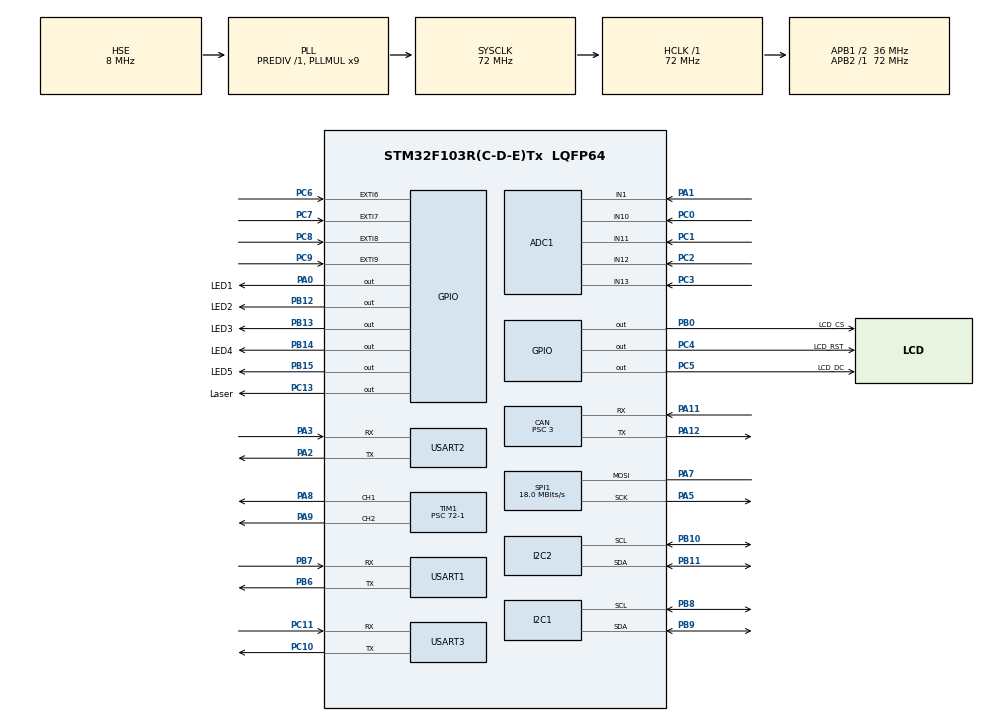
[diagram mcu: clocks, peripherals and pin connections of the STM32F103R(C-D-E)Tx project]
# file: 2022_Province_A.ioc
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ADC1.Channel-0\#ChannelRegularConversion=ADC_CHANNEL_10
ADC1.NbrOfConversionFlag=1
ADC1.Rank-0\#ChannelRegularConversion=1
ADC1.SamplingTime-0\#ChannelRegularConversion=ADC_SAMPLETIME_1CYCLE_5
ADC1.master=1
CAN.BS1=CAN_BS1_8TQ
CAN.BS2=CAN_BS2_3TQ
CAN.CalculateBaudRate=1000000
CAN.CalculateTimeBit=999.99
CAN.CalculateTimeQuantum=83.33333333333334
CAN.Prescaler=3
Dma.I2C2_TX.0.Direction=DMA_MEMORY_TO_PERIPH
Dma.I2C2_TX.0.Instance=DMA1_Channel4
Dma.I2C2_TX.0.MemDataAlignment=DMA_MDATAALIGN_BYTE
Dma.I2C2_TX.0.MemInc=DMA_MINC_ENABLE
Dma.I2C2_TX.0.Mode=DMA_NORMAL
Dma.I2C2_TX.0.PeriphDataAlignment=DMA_PDATAALIGN_BYTE
Dma.I2C2_TX.0.PeriphInc=DMA_PINC_DISABLE
Dma.I2C2_TX.0.Priority=DMA_PRIORITY_LOW
Dma.Request0=I2C2_TX
FREERTOS.INCLUDE_vTaskDelayUntil=1
FREERTOS.INCLUDE_xTaskGetHandle=0
FREERTOS.Tasks01=defaultTask,-3,128,StartDefaultTask,Default,NULL,Dynamic,NULL,NULL
FREERTOS.configMINIMAL_STACK_SIZE=64
FREERTOS.configTOTAL_HEAP_SIZE=10000
I2C1.I2C_Mode=I2C_Fast
I2C2.I2C_Mode=I2C_Fast
Mcu.Family=STM32F1
Mcu.Name=STM32F103R(C-D-E)Tx
Mcu.Package=LQFP64
NVIC.DMA1_Channel4_IRQn=true\:5\:0\:false\:false\:true\:true\:false\:true
NVIC.EXTI9_5_IRQn=true\:5\:0\:false\:false\:true\:true\:true\:true
NVIC.I2C2_EV_IRQn=true\:5\:0\:false\:false\:true\:true\:true\:true
NVIC.PriorityGroup=NVIC_PRIORITYGROUP_4
NVIC.TIM2_IRQn=true\:6\:0\:true\:false\:true\:true\:true\:true
NVIC.TIM7_IRQn=true\:0\:0\:false\:false\:true\:false\:false\:true
NVIC.TimeBase=TIM7_IRQn
NVIC.TimeBaseIP=TIM7
NVIC.USART1_IRQn=true\:5\:0\:false\:false\:true\:true\:true\:true
NVIC.USB_LP_CAN1_RX0_IRQn=true\:6\:0\:true\:false\:true\:true\:true\:true
PA0-WKUP.GPIO_Label=LED1
PA0-WKUP.Signal=GPIO_Output
PA1.Signal=ADCx_IN1
PA11.Mode=CAN_Activate
PA11.Signal=CAN_RX
PA12.Mode=CAN_Activate
PA12.Signal=CAN_TX
PA13.Mode=Serial_Wire
PA13.Signal=SYS_JTMS-SWDIO
PA14.Mode=Serial_Wire
PA14.Signal=SYS_JTCK-SWCLK
PA2.Mode=Asynchronous
PA2.Signal=USART2_TX
PA3.Mode=Asynchronous
PA3.Signal=USART2_RX
PA5.Mode=Simplex_Bidirectional_Master
PA5.Signal=SPI1_SCK
PA7.Mode=Simplex_Bidirectional_Master
PA7.Signal=SPI1_MOSI
PA8.Signal=S_TIM1_CH1
PA9.Signal=S_TIM1_CH2
PB0.GPIO_Label=LCD_CS
PB0.Signal=GPIO_Output
PB10.Mode=I2C
PB10.Signal=I2C2_SCL
PB11.Mode=I2C
PB11.Signal=I2C2_SDA
PB12.GPIO_Label=LED2
PB12.Signal=GPIO_Output
PB13.GPIO_Label=LED3
PB13.Signal=GPIO_Output
PB14.GPIO_Label=LED4
PB14.Signal=GPIO_Output
PB15.GPIO_Label=LED5
PB15.Signal=GPIO_Output
PB6.Mode=Asynchronous
PB6.Signal=USART1_TX
PB7.Mode=Asynchronous
PB7.Signal=USART1_RX
PB8.Mode=I2C
PB8.Signal=I2C1_SCL
PB9.Mode=I2C
PB9.Signal=I2C1_SDA
PC0.Signal=ADCx_IN10
PC1.Signal=ADCx_IN11
PC10.Mode=Asynchronous
PC10.Signal=USART3_TX
PC11.Mode=Asynchronous
PC11.Signal=USART3_RX
PC13-TAMPER-RTC.GPIO_Label=Laser
PC13-TAMPER-RTC.Signal=GPIO_Output
PC14-OSC32_IN.Mode=LSE-External-Oscillator
PC14-OSC32_IN.Signal=RCC_OSC32_IN
PC15-OSC32_OUT.Mode=LSE-External-Oscillator
PC15-OSC32_OUT.Signal=RCC_OSC32_OUT
PC2.Signal=ADCx_IN12
PC3.Signal=ADCx_IN13
PC4.GPIO_Label=LCD_RST
PC4.Signal=GPIO_Output
PC5.GPIO_Label=LCD_DC
PC5.Signal=GPIO_Output
PC6.GPIO_ModeDefaultEXTI=GPIO_MODE_IT_FALLING
PC6.GPIO_PuPd=GPIO_PULLUP
PC6.Signal=GPXTI6
PC7.GPIO_ModeDefaultEXTI=GPIO_MODE_IT_FALLING
PC7.GPIO_PuPd=GPIO_PULLUP
PC7.Signal=GPXTI7
PC8.GPIO_ModeDefaultEXTI=GPIO_MODE_IT_FALLING
PC8.GPIO_PuPd=GPIO_PULLUP
PC8.Signal=GPXTI8
PC9.GPIO_ModeDefaultEXTI=GPIO_MODE_IT_FALLING
PC9.GPIO_PuPd=GPIO_PULLUP
PC9.Signal=GPXTI9
PD0-OSC_IN.Mode=HSE-External-Oscillator
PD0-OSC_IN.Signal=RCC_OSC_IN
PD1-OSC_OUT.Mode=HSE-External-Oscillator
PD1-OSC_OUT.Signal=RCC_OSC_OUT
ProjectManager.HeapSize=0x200
ProjectManager.StackSize=0x400
ProjectManager.TargetToolchain=SW4STM32
RCC.ADCPresc=RCC_ADCPCLK2_DIV6
RCC.AHBFreq_Value=72000000
RCC.APB1CLKDivider=RCC_HCLK_DIV2
RCC.APB1Freq_Value=36000000
RCC.APB1TimFreq_Value=72000000
RCC.APB2Freq_Value=72000000
RCC.APB2TimFreq_Value=72000000
RCC.HCLKFreq_Value=72000000
RCC.PLLMUL=RCC_PLL_MUL9
RCC.PLLSourceVirtual=RCC_PLLSOURCE_HSE
RCC.SYSCLKFreq_VALUE=72000000
RCC.SYSCLKSource=RCC_SYSCLKSOURCE_PLLCLK
RCC.USBFreq_Value=72000000
SH.ADCx_IN1.0=ADC1_IN1,IN1
SH.ADCx_IN10.0=ADC1_IN10,IN10
SH.ADCx_IN11.0=ADC1_IN11,IN11
SH.ADCx_IN12.0=ADC1_IN12,IN12
SH.ADCx_IN13.0=ADC1_IN13,IN13
SH.S_TIM1_CH1.0=TIM1_CH1,PWM Generation1 CH1
SH.S_TIM1_CH2.0=TIM1_CH2,PWM Generation2 CH2
SPI1.BaudRatePrescaler=SPI_BAUDRATEPRESCALER_4
SPI1.CalculateBaudRate=18.0 MBits/s
SPI1.Direction=SPI_DIRECTION_1LINE
SPI1.Mode=SPI_MODE_MASTER
SPI1.VirtualType=VM_MASTER
TIM1.AutoReloadPreload=TIM_AUTORELOAD_PRELOAD_ENABLE
TIM1.Channel-PWM\ Generation1\ CH1=TIM_CHANNEL_1
TIM1.Channel-PWM\ Generation2\ CH2=TIM_CHANNEL_2
TIM1.Period=20000
TIM1.Prescaler=72-1
TIM2.AutoReloadPreload=TIM_AUTORELOAD_PRELOAD_ENABLE
TIM2.Period=1000-1
TIM2.Prescaler=7200-1
USART1.VirtualMode=VM_ASYNC
USART2.VirtualMode=VM_ASYNC
USART3.VirtualMode=VM_ASYNC
VP_FREERTOS_VS_CMSIS_V1.Mode=CMSIS_V1
VP_SYS_VS_tim7.Mode=TIM7
VP_TIM1_VS_ClockSourceINT.Mode=Internal
VP_TIM2_VS_ClockSourceINT.Mode=Internal
board=custom

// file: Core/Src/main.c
/* USER CODE BEGIN Header */
/**
  ******************************************************************************
  * @file           : main.c
  * @brief          : Main program body
  ******************************************************************************
  * @attention
  *
  * <h2><center>&copy; Copyright (c) 2022 STMicroelectronics.
  * All rights reserved.</center></h2>
  *
  * This software component is licensed by ST under BSD 3-Clause license,
  * the "License"; You may not use this file except in compliance with the
  * License. You may obtain a copy of the License at:
  *                        opensource.org/licenses/BSD-3-Clause
  *
  ******************************************************************************
  */
/* USER CODE END Header */
#include "main.h"
#include "cmsis_os.h"
#include "adc.h"
#include "can.h"
#include "dma.h"
#include "i2c.h"
#include "spi.h"
#include "tim.h"
#include "usart.h"
#include "gpio.h"

/* USER CODE BEGIN Includes */
#include "bsp_m2006.h"
#include "ssd1306.h"
#include "mpu6050.h"
#include "servo.h"
#include "uart_parser.h"
/* USER CODE END Includes */

/* USER CODE BEGIN PV */
extern MPU6050_t mpu6050;
/* USER CODE END PV */

void SystemClock_Config(void);
void MX_FREERTOS_Init(void);

int main(void)
{

  /* MCU Configuration--------------------------------------------------------*/

  /* Reset of all peripherals, Initializes the Flash interface and the Systick. */
  HAL_Init();

  /* USER CODE BEGIN Init */
    HAL_Delay(200);
  /* USER CODE END Init */

  /* Configure the system clock */
  SystemClock_Config();

  /* Initialize all configured peripherals */
  MX_GPIO_Init();
  MX_DMA_Init();
  MX_CAN_Init();
  MX_ADC1_Init();
  MX_I2C1_Init();
  MX_I2C2_Init();
  MX_SPI1_Init();
  MX_TIM1_Init();
  MX_USART1_UART_Init();
  MX_USART2_UART_Init();
  MX_USART3_UART_Init();
  MX_TIM2_Init();
  /* USER CODE BEGIN 2 */
    M2006_Init();
    ssd1306_Init(&hi2c2);
    MPU6050_Init(&hi2c1);
    servo_init();
    HAL_TIM_Base_Start_IT(&htim2);
    uart_parser_init(&huart1);
  /* USER CODE END 2 */

  /* Call init function for freertos objects (in freertos.c) */
  MX_FREERTOS_Init();
  /* Start scheduler */
  osKernelStart();

  /* We should never get here as control is now taken by the scheduler */
  /* Infinite loop */
    while (1) {

    }
}

void SystemClock_Config(void)
{
  RCC_OscInitTypeDef RCC_OscInitStruct = {0};
  RCC_ClkInitTypeDef RCC_ClkInitStruct = {0};
  RCC_PeriphCLKInitTypeDef PeriphClkInit = {0};

  /** Initializes the RCC Oscillators according to the specified parameters
  * in the RCC_OscInitTypeDef structure.
  */
  RCC_OscInitStruct.OscillatorType = RCC_OSCILLATORTYPE_HSE;
  RCC_OscInitStruct.HSEState = RCC_HSE_ON;
  RCC_OscInitStruct.HSEPredivValue = RCC_HSE_PREDIV_DIV1;
  RCC_OscInitStruct.HSIState = RCC_HSI_ON;
  RCC_OscInitStruct.PLL.PLLState = RCC_PLL_ON;
  RCC_OscInitStruct.PLL.PLLSource = RCC_PLLSOURCE_HSE;
  RCC_OscInitStruct.PLL.PLLMUL = RCC_PLL_MUL9;
  if (HAL_RCC_OscConfig(&RCC_OscInitStruct) != HAL_OK)
  {
    Error_Handler();
  }
  /** Initializes the CPU, AHB and APB buses clocks
  */
  RCC_ClkInitStruct.ClockType = RCC_CLOCKTYPE_HCLK|RCC_CLOCKTYPE_SYSCLK
                              |RCC_CLOCKTYPE_PCLK1|RCC_CLOCKTYPE_PCLK2;
  RCC_ClkInitStruct.SYSCLKSource = RCC_SYSCLKSOURCE_PLLCLK;
  RCC_ClkInitStruct.AHBCLKDivider = RCC_SYSCLK_DIV1;
  RCC_ClkInitStruct.APB1CLKDivider = RCC_HCLK_DIV2;
  RCC_ClkInitStruct.APB2CLKDivider = RCC_HCLK_DIV1;

  if (HAL_RCC_ClockConfig(&RCC_ClkInitStruct, FLASH_LATENCY_2) != HAL_OK)
  {
    Error_Handler();
  }
  PeriphClkInit.PeriphClockSelection = RCC_PERIPHCLK_ADC;
  PeriphClkInit.AdcClockSelection = RCC_ADCPCLK2_DIV6;
  if (HAL_RCCEx_PeriphCLKConfig(&PeriphClkInit) != HAL_OK)
  {
    Error_Handler();
  }
}

 /**
  * @brief  Period elapsed callback in non blocking mode
  * @note   This function is called  when TIM7 interrupt took place, inside
  * HAL_TIM_IRQHandler(). It makes a direct call to HAL_IncTick() to increment
  * a global variable "uwTick" used as application time base.
  * @param  htim : TIM handle
  * @retval None
  */
void HAL_TIM_PeriodElapsedCallback(TIM_HandleTypeDef *htim)
{
  if (htim->Instance == TIM7) {
    HAL_IncTick();
  }
  /* USER CODE BEGIN Callback 1 */
    if (htim->Instance == TIM2) {
        MPU6050_Read_All(&hi2c1, &mpu6050);
    }
  /* USER CODE END Callback 1 */
}

void Error_Handler(void)
{
    __disable_irq();
    while (1) {
    }
}

/************************ (C) COPYRIGHT STMicroelectronics *****END OF FILE****/

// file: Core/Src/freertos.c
/* USER CODE BEGIN Header */
/**
  ******************************************************************************
  * File Name          : freertos.c
  * Description        : Code for freertos applications
  ******************************************************************************
  * @attention
  *
  * <h2><center>&copy; Copyright (c) 2022 STMicroelectronics.
  * All rights reserved.</center></h2>
  *
  * This software component is licensed by ST under Ultimate Liberty license
  * SLA0044, the "License"; You may not use this file except in compliance with
  * the License. You may obtain a copy of the License at:
  *                             www.st.com/SLA0044
  *
  ******************************************************************************
  */
/* USER CODE END Header */

#include "FreeRTOS.h"
#include "task.h"
#include "main.h"
#include "cmsis_os.h"

/* USER CODE BEGIN Includes */
#include "ssd1306.h"
#include "fonts.h"
#include "i2c.h"
#include "gui.h"
#include "mpu6050.h"
#include "servo.h"
#include "bsp_button.h"
#include "uart_parser.h"
#include "bsp_m2006.h"
/* USER CODE END Includes */

/* USER CODE BEGIN Variables */

MPU6050_t mpu6050;
TaskHandle_t selectableTaskHandleList[10];
uint8_t currentSelectedTaskIndex = 0;
uint8_t selectableTaskHandleNumber = 0;

static TaskHandle_t LedTaskHandle = NULL;
static TaskHandle_t SelectionTaskHandle = NULL;
static TaskHandle_t DebugTaskHandle = NULL;
static TaskHandle_t ServoTaskHandle = NULL;
static TaskHandle_t FollowLineTaskHandle = NULL;
static TaskHandle_t RotateTaskHandle = NULL;
/* USER CODE END Variables */
osThreadId defaultTaskHandle;

/* USER CODE BEGIN FunctionPrototypes */
void LedTask(void *pvParameters);

void SelectionTask(void *pvParameters);

void DebugTask(void *pvParameters);

void ServoTask(void *pvParameters);

void FollowLineTask(void *pvParameters);

void RotateTask(void *pvParameters);

/* USER CODE END FunctionPrototypes */

void StartDefaultTask(void const *argument);

void MX_FREERTOS_Init(void); /* (MISRA C 2004 rule 8.1) */

/* GetIdleTaskMemory prototype (linked to static allocation support) */
void vApplicationGetIdleTaskMemory(StaticTask_t **ppxIdleTaskTCBBuffer, StackType_t **ppxIdleTaskStackBuffer,
                                   uint32_t *pulIdleTaskStackSize);

/* USER CODE BEGIN GET_IDLE_TASK_MEMORY */
static StaticTask_t xIdleTaskTCBBuffer;
static StackType_t xIdleStack[configMINIMAL_STACK_SIZE];

void vApplicationGetIdleTaskMemory(StaticTask_t **ppxIdleTaskTCBBuffer, StackType_t **ppxIdleTaskStackBuffer,
                                   uint32_t *pulIdleTaskStackSize) {
    *ppxIdleTaskTCBBuffer = &xIdleTaskTCBBuffer;
    *ppxIdleTaskStackBuffer = &xIdleStack[0];
    *pulIdleTaskStackSize = configMINIMAL_STACK_SIZE;
    /* place for user code */
}
/* USER CODE END GET_IDLE_TASK_MEMORY */

void MX_FREERTOS_Init(void) {
    /* USER CODE BEGIN Init */

    xTaskCreate(LedTask, "LedTask", 64, NULL, 1, &LedTaskHandle);

    xTaskCreate(SelectionTask, "SelectionTask", 64, NULL, 6, &SelectionTaskHandle);

    xTaskCreate(DebugTask, "Debug", 64, NULL, 6, &DebugTaskHandle);
    vTaskSuspend(DebugTaskHandle);

    xTaskCreate(ServoTask, "Servo", 64, NULL, 6, &ServoTaskHandle);
    vTaskSuspend(ServoTaskHandle);

    xTaskCreate(FollowLineTask, "Follow", 64, NULL, 6, &FollowLineTaskHandle);
    vTaskSuspend(FollowLineTaskHandle);

    xTaskCreate(RotateTask, "Rotate", 64, NULL, 6, &RotateTaskHandle);
    vTaskSuspend(RotateTaskHandle);

    selectableTaskHandleList[0] = DebugTaskHandle;
    selectableTaskHandleList[1] = ServoTaskHandle;
    selectableTaskHandleList[2] = FollowLineTaskHandle;
    selectableTaskHandleList[3] = RotateTaskHandle;
    selectableTaskHandleNumber = 4;
    /* USER CODE END Init */

    /* Create the thread(s) */
    /* definition and creation of defaultTask */
    osThreadDef(defaultTask, StartDefaultTask, osPriorityIdle, 0, 128);
    defaultTaskHandle = osThreadCreate(osThread(defaultTask), NULL);

}

void StartDefaultTask(void const *argument) {
    for (;;) {
        osDelay(1);
    }
}

/* USER CODE BEGIN Application */
/**
 * @brief LED blink task, showing MCU is working correctly
 * @param pvParameters
 */
void LedTask(void *pvParameters) {
    TickType_t xLastWakeTime;
    xLastWakeTime = xTaskGetTickCount();

    while (1) {
        HAL_GPIO_TogglePin(LED1_GPIO_Port, LED1_Pin);
        HAL_GPIO_TogglePin(Laser_GPIO_Port, Laser_Pin);
        vTaskDelayUntil(&xLastWakeTime, pdMS_TO_TICKS(500));
    }
}

/**
 * @brief Select any other tasks
 * @param pvParameters
 */
void SelectionTask(void *pvParameters) {
    TickType_t xLastWakeTime;
    xLastWakeTime = xTaskGetTickCount();

    while (1) {
        if (button_confirm_press_pending_flag) { // confirm
            button_reset_all_flags();

            gui_task_selection(pcTaskGetName(selectableTaskHandleList[currentSelectedTaskIndex]), 1);

            vTaskResume(selectableTaskHandleList[currentSelectedTaskIndex]);
            vTaskSuspend(NULL);
        } else if (button_left_press_pending_flag) { // left: reduce
            button_reset_all_flags();
            if (currentSelectedTaskIndex == 0) {
                currentSelectedTaskIndex = selectableTaskHandleNumber - 1;
            } else {
                currentSelectedTaskIndex--;
            }
        } else if (button_right_press_pending_flag) { // right: increase
            button_reset_all_flags();
            currentSelectedTaskIndex++;
            currentSelectedTaskIndex %= selectableTaskHandleNumber;
        } else {
            gui_task_selection(pcTaskGetName(selectableTaskHandleList[currentSelectedTaskIndex]), 0);
        }

        vTaskDelayUntil(&xLastWakeTime, pdMS_TO_TICKS(100));
    }
}

/**
 * @brief Show debug information in screen
 * @param pvParameters
 */
void DebugTask(void *pvParameters) {
    TickType_t xLastWakeTime;
    xLastWakeTime = xTaskGetTickCount();

    while (1) {
        if (button_cancel_press_pending_flag) { // Back to selection task
            button_reset_all_flags();

            vTaskResume(SelectionTaskHandle);
            vTaskSuspend(NULL);
        }

        gui_show_variables("X", (int16_t) mpu6050.KalmanAngleX,
                           "Y", (int16_t) mpu6050.KalmanAngleY,
                           "Gyro_Z", (int16_t) mpu6050.Gz,
                           "uart", (int16_t) received_value);

        vTaskDelayUntil(&xLastWakeTime, pdMS_TO_TICKS(100));
    }
}

/**
 * @brief only control servo
 * @param pvParameters
 */
void ServoTask(void *pvParameters) {
    TickType_t xLastWakeTime;
    xLastWakeTime = xTaskGetTickCount();
    uint16_t servo1 = 135, servo2 = 50;
    while (1) {
        if (button_cancel_press_pending_flag) { // Back to selection task
            button_reset_all_flags();

            vTaskResume(SelectionTaskHandle);
            vTaskSuspend(NULL);
        } else if (button_left_press_pending_flag) {
            button_reset_all_flags();
            servo1 -= 10;
            servo2 -= 10;
        } else if (button_right_press_pending_flag) {
            button_reset_all_flags();
            servo1 += 10;
            servo2 += 10;
        }
        servo_set_degree(servo1, servo2);
        gui_control_servo(servo1, SERVO1_MAX_DEGREE, servo2, SERVO2_MAX_DEGREE);
        vTaskDelayUntil(&xLastWakeTime, pdMS_TO_TICKS(100));
    }
}

int16_t target_value = 120;
int16_t delta_value = 0;
int16_t avg_speed = 1000;
int16_t Kp = 10;
int16_t u = 0;

void FollowLineTask(void *pvParameters) {
    TickType_t xLastWakeTime;
    xLastWakeTime = xTaskGetTickCount();
    while (1) {
        if (button_cancel_press_pending_flag) { // Back to selection task
            button_reset_all_flags();

            pid_speed[0].target_val = 0; // Motor1
            pid_speed[1].target_val = 0; // Motor2
            pid_speed[2].target_val = 0; // Motor3
            pid_speed[3].target_val = 0; // Motor4

            vTaskResume(SelectionTaskHandle);
            vTaskSuspend(NULL);
        }
        if (received_state == 'L') { // Follow line
            delta_value = target_value - received_value; // target - real;
            u = Kp * delta_value;

            pid_speed[0].target_val = (float) avg_speed - u; // Motor1
            pid_speed[1].target_val = (float) -(avg_speed + u); // Motor2
            pid_speed[2].target_val = (float) avg_speed - u; // Motor3
            pid_speed[3].target_val = (float) -(avg_speed + u); // Motor4

//            gui_show_variables("delta", delta_value,
//                               "u", u,
//                               "left", avg_speed + u,
//                               "right", avg_speed - u);
        }

        vTaskDelayUntil(&xLastWakeTime, pdMS_TO_TICKS(100));
    }
}

#define Degree2DeltaZ 8
void RotateTask(void *pvParameters) {
    TickType_t xLastWakeTime;
    xLastWakeTime = xTaskGetTickCount();

    static uint8_t is_rotating_flag = 0;
    static int16_t rotated_degree = 0;
    static int16_t target_rotate_degree = 0;

    while (1) {
        // Scan button
        if (button_cancel_press_pending_flag) { // Back to selection task
            button_reset_all_flags();

            M2006_set_speed(0, 0, 0, 0);

            vTaskResume(SelectionTaskHandle);
            vTaskSuspend(NULL);
        } else if (button_confirm_press_pending_flag) { // Detect button press and rotate specific degree
            button_reset_all_flags();

            rotated_degree = 0;
            is_rotating_flag = 1;

            if (target_rotate_degree > 0) {
                M2006_set_speed(-1000, -1000, -1000, -1000);
            } else if (target_rotate_degree < 0) {
                M2006_set_speed(1000, 1000, 1000, 1000);
            }
        } else if (button_left_press_pending_flag) {
            button_reset_all_flags();

            target_rotate_degree -= 10;
        } else if (button_right_press_pending_flag) {
            button_reset_all_flags();

            target_rotate_degree += 10;
        }

        if (is_rotating_flag) { // Rotating
            rotated_degree += mpu6050.Gz;
            if (abs(rotated_degree) > abs(target_rotate_degree * Degree2DeltaZ)) { // Rotation finished
                M2006_set_speed(0, 0, 0, 0);
                is_rotating_flag = 0; // reset flag
            }
        }

        gui_show_variables("Gz", (int16_t) mpu6050.Gz, "target", target_rotate_degree, "now", rotated_degree, NULL, 0);
        vTaskDelayUntil(&xLastWakeTime, pdMS_TO_TICKS(100));
    }
}
/* USER CODE END Application */

/************************ (C) COPYRIGHT STMicroelectronics *****END OF FILE****/
